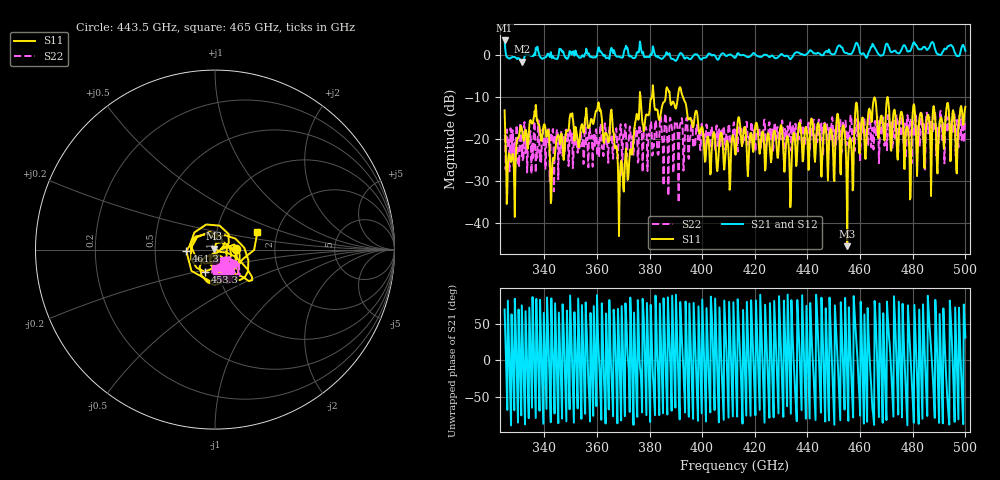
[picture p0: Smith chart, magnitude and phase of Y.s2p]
!Created with skrf (http://scikit-rf.org).
# GHz S RI R 50.0
!freq ReS11 ImS11 ReS21 ImS21 ReS12 ImS12 ReS22 ImS22
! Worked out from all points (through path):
!   859 points, 324.9 GHz to 500.1 GHz, reference 50 ohm
!   highest |S21| = 3.35 dB at 324.9 GHz (marker M1); lowest = -1.7 dB at 331.6 GHz (marker M2)
!   lowest |S11| = -45.6 dB at 455.2 GHz (marker M3), VSWR 1.01, Z = 49.7 + j0.436 ohm
!   |S11| at or under -10 dB: start of sweep to 376.3 GHz; 381.6 GHz to 386.1 GHz (4.547 GHz wide, 1.18 % of centre); 392.7 GHz to end of sweep (the widest 3 of 5)
!   |S22| runs from -35.2 to -13.4 dB; largest |S21 - S12| = 0
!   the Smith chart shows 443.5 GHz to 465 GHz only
!   S11 on the Smith chart (normalised r, x): 443.5 GHz: 1.27, +0.01; 453.3 GHz: 0.87, -0.22; 461.3 GHz: 0.72, -0.01; 465 GHz: 1.58, +0.34
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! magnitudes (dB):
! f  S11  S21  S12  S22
! 324.9 GHz  -13.3  3.3  3.3  -19.1
! 328.2 GHz  -24.1  -0.6  -0.6  -20.9
! 331.6 GHz  -18.5  -1.7  -1.7  -21.6
! 337 GHz  -13.4  1.5  1.5  -23.0
! 343.1 GHz  -25.8  -0.6  -0.6  -18.3
! 354.3 GHz  -16.5  -0.3  -0.3  -21.8
! 365.7 GHz  -14.6  1.2  1.2  -19.6
! 369.2 GHz  -25.3  -0.7  -0.7  -17.2
! 376 GHz  -15.2  0.6  0.6  -18.5
! 383.3 GHz  -14.6  -0.6  -0.6  -23.8
! 412.5 GHz  -23.3  -0.8  -0.8  -20.6
! 433.5 GHz  -36.3  -1.1  -1.1  -16.2
! 441.9 GHz  -15.8  0.7  0.7  -19.5
! 443.5 GHz  -18.6  0.2  0.2  -19.5
! 453.3 GHz  -17.3  1.7  1.7  -17.5
! 455.2 GHz  -45.6  0.3  0.3  -20.5
! 461.3 GHz  -15.9  0.3  0.3  -16.9
! 465 GHz  -11.8  2.4  2.4  -19.5
! 470.9 GHz  -11.8  1.8  1.8  -14.3
! 478.9 GHz  -24.9  0.9  0.9  -17.1
! 480.5 GHz  -11.8  2.9  2.9  -18.1
! 500.1 GHz  -12.4  0.9  0.9  -15.4
